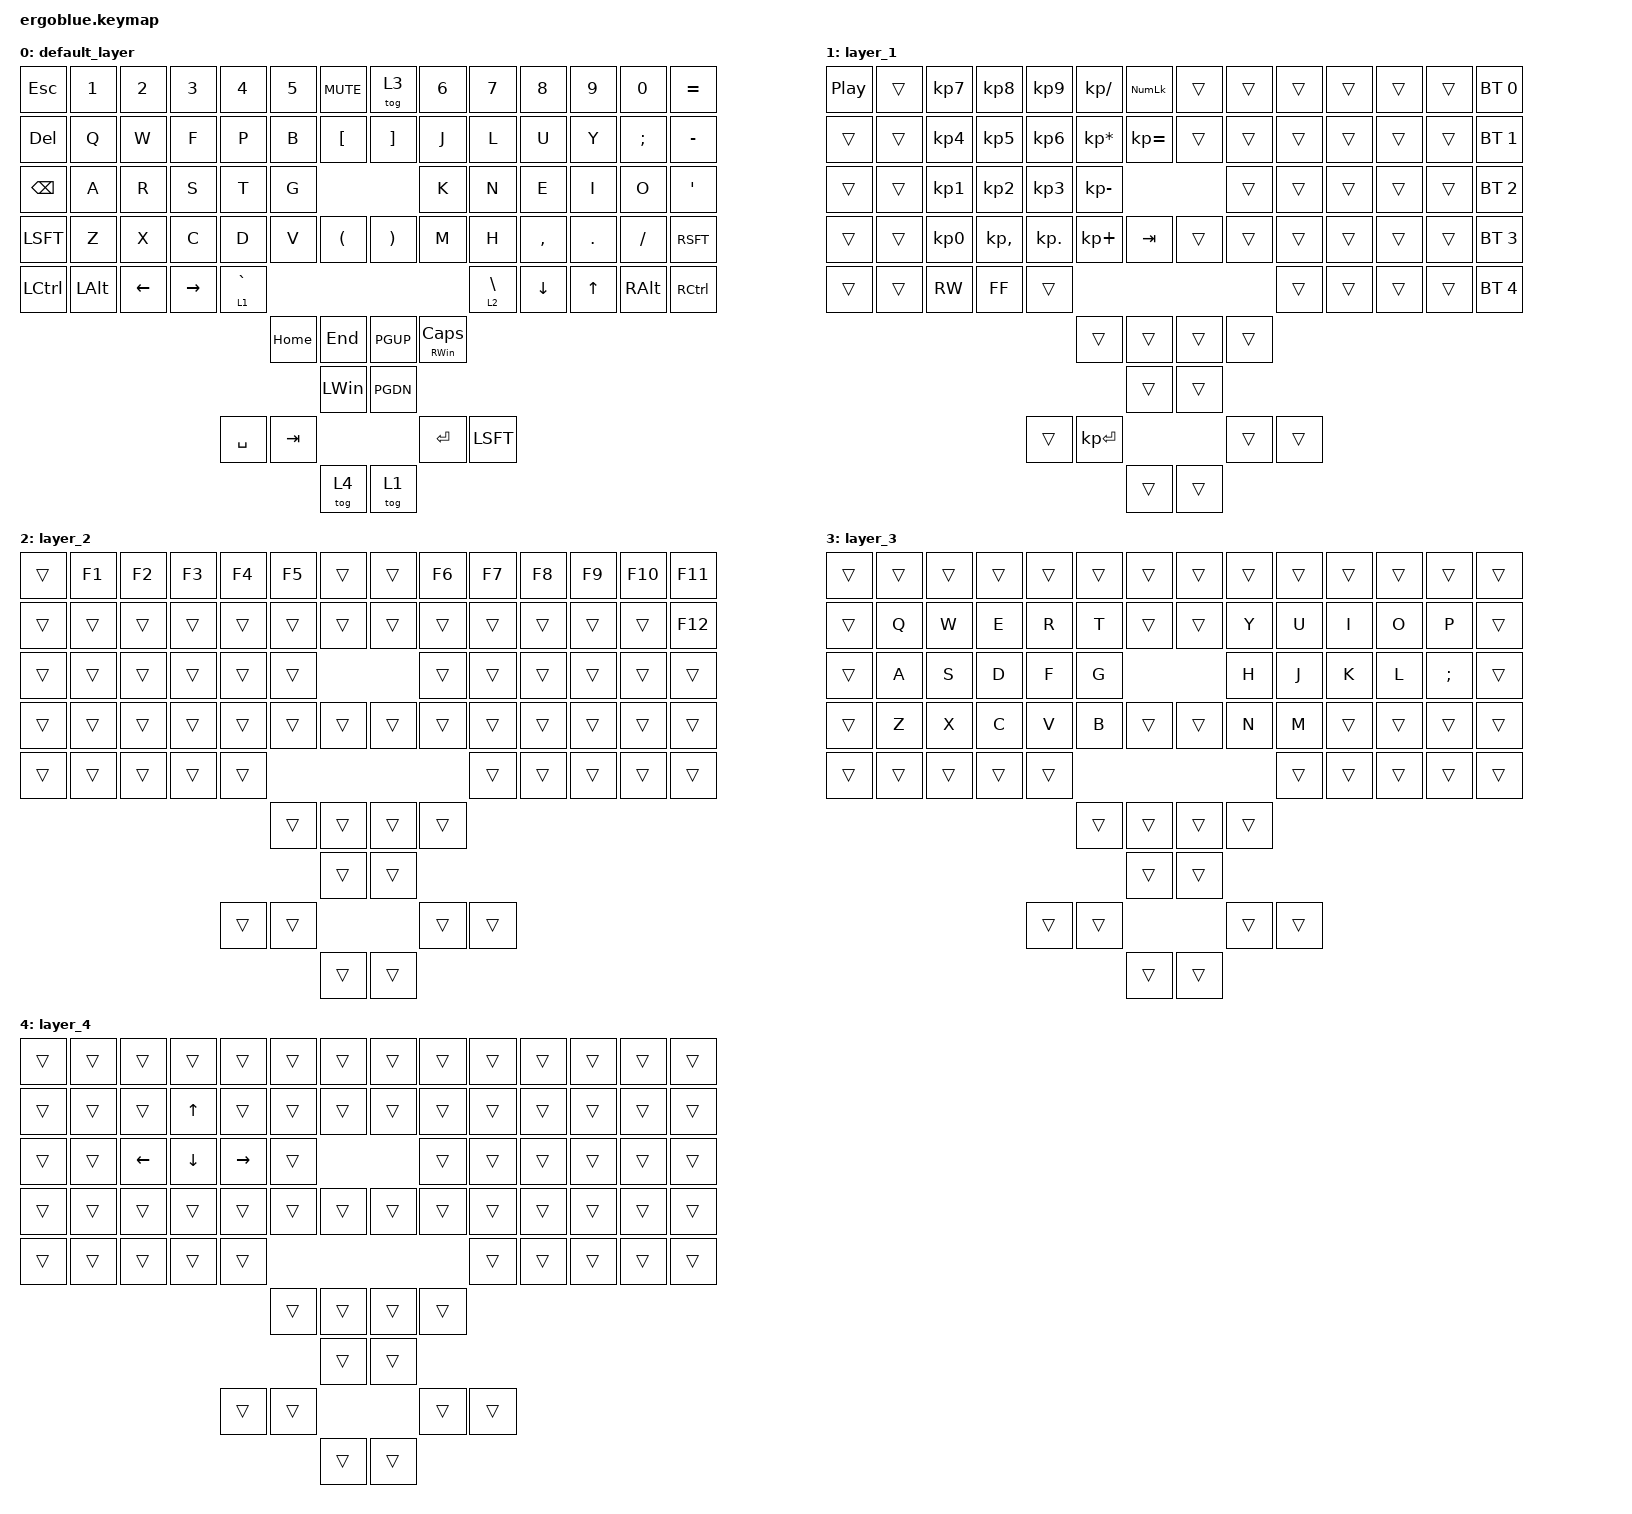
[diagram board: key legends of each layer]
#include <behaviors.dtsi>
#include <dt-bindings/zmk/keys.h>
#include <dt-bindings/zmk/bt.h>
#define KP_CMA KP_COMMA
#define RW RWIN
#define CPS CAPS
#define GRV GRAVE
#define KP_ETR KP_ENTER
#define KP_SLH KP_SLASH
#define KP_EQL KP_EQUAL
#define KP_AST KP_ASTERISK
#define KP_MIN KP_MINUS
#define KP_PLS KP_PLUS

/ {
        keymap {
                compatible = "zmk,keymap";

                default_layer {
                        bindings = <
    &kp ESC    &kp N1     &kp N2     &kp N3     &kp N4     &kp N5     &kp C_MUTE &tog 3     &kp N6     &kp N7     &kp N8     &kp N9     &kp N0     &kp EQUAL
    &kp DEL    &kp Q      &kp W      &kp F      &kp P      &kp B      &kp LBKT   &kp RBKT   &kp J      &kp L      &kp U      &kp Y      &kp SEMI   &kp MINUS
    &kp BKSP   &kp A      &kp R      &kp S      &kp T      &kp G                            &kp K      &kp N      &kp E      &kp I      &kp O      &kp APOS
    &kp LSFT   &kp Z      &kp X      &kp C      &kp D      &kp V      &kp LPAR   &kp RPAR   &kp M      &kp H      &kp COMMA  &kp PERIOD &kp FSLH   &kp RSFT
    &kp LCTRL  &kp LALT   &kp LEFT   &kp RIGHT  &lt 1 GRV                                              &lt 2 BSLH &kp DOWN   &kp UP     &kp RALT   &kp RCTRL
                                                           &kp HOME   &kp END    &kp PGUP   &mt RW CPS
                                                                      &kp LWIN   &kp PGDN
                                                &kp SPACE  &kp TAB                          &kp ENTER  &kp LSFT
                                                                      &tog 4     &tog 1
                        >;
                };
                
                layer_1 {
                        bindings = <
    &kp C_PP   &trans     &kp KP_N7  &kp KP_N8  &kp KP_N9  &kp KP_SLH &kp KP_NUM &trans     &trans     &trans     &trans     &trans     &trans     &bt BT_SEL 0
    &trans     &trans     &kp KP_N4  &kp KP_N5  &kp KP_N6  &kp KP_AST &kp KP_EQL &trans     &trans     &trans     &trans     &trans     &trans     &bt BT_SEL 1
    &trans     &trans     &kp KP_N1  &kp KP_N2  &kp KP_N3  &kp KP_MIN                       &trans     &trans     &trans     &trans     &trans     &bt BT_SEL 2
    &trans     &trans     &kp KP_N0  &kp KP_CMA &kp KP_DOT &kp KP_PLS &kp TAB    &trans     &trans     &trans     &trans     &trans     &trans     &bt BT_SEL 3
    &trans     &trans     &kp C_RW   &kp C_FF   &trans                                                 &trans     &trans     &trans     &trans     &bt BT_SEL 4
                                                           &trans     &trans     &trans     &trans
                                                                      &trans     &trans
                                                &trans     &kp KP_ETR                       &trans     &trans
                                                                      &trans     &trans
                        >;
				};
		
		layer_2 {
                        bindings = <
    &trans     &kp F1     &kp F2     &kp F3     &kp F4     &kp F5     &trans     &trans     &kp F6     &kp F7     &kp F8     &kp F9     &kp F10    &kp F11
    &trans     &trans     &trans     &trans     &trans     &trans     &trans     &trans     &trans     &trans     &trans     &trans     &trans     &kp F12
    &trans     &trans     &trans     &trans     &trans     &trans                           &trans     &trans     &trans     &trans     &trans     &trans
    &trans     &trans     &trans     &trans     &trans     &trans     &trans     &trans     &trans     &trans     &trans     &trans     &trans     &trans
    &trans     &trans     &trans     &trans     &trans                                                 &trans     &trans     &trans     &trans     &trans
                                                           &trans     &trans     &trans     &trans
                                                                      &trans     &trans
                                                &trans     &trans                           &trans     &trans
                                                                      &trans     &trans
                        >;
				};

                layer_3 {
                        bindings = <
    &trans     &trans     &trans     &trans     &trans     &trans     &trans     &trans     &trans     &trans     &trans     &trans     &trans     &trans
    &trans     &kp Q      &kp W      &kp E      &kp R      &kp T      &trans     &trans     &kp Y      &kp U      &kp I      &kp O      &kp P      &trans
    &trans     &kp A      &kp S      &kp D      &kp F      &kp G                            &kp H      &kp J      &kp K      &kp L      &kp SEMI   &trans
    &trans     &kp Z      &kp X      &kp C      &kp V      &kp B      &trans     &trans     &kp N      &kp M      &trans     &trans     &trans     &trans
    &trans     &trans     &trans     &trans     &trans                                                 &trans     &trans     &trans     &trans     &trans
                                                           &trans     &trans     &trans     &trans
                                                                      &trans     &trans
                                                &trans     &trans                           &trans     &trans
                                                                      &trans     &trans
                        >;
				};

                layer_4 {
                        bindings = <
    &trans     &trans     &trans     &trans     &trans     &trans     &trans     &trans     &trans     &trans     &trans     &trans     &trans     &trans
    &trans     &trans     &trans     &kp UP     &trans     &trans     &trans     &trans     &trans     &trans     &trans     &trans     &trans     &trans
    &trans     &trans     &kp LEFT   &kp DOWN   &kp RIGHT  &trans                           &trans     &trans     &trans     &trans     &trans     &trans
    &trans     &trans     &trans     &trans     &trans     &trans     &trans     &trans     &trans     &trans     &trans     &trans     &trans     &trans
    &trans     &trans     &trans     &trans     &trans                                                 &trans     &trans     &trans     &trans     &trans
                                                           &trans     &trans     &trans     &trans
                                                                      &trans     &trans
                                                &trans     &trans                           &trans     &trans
                                                                      &trans     &trans
                        >;
				};
        };
};
